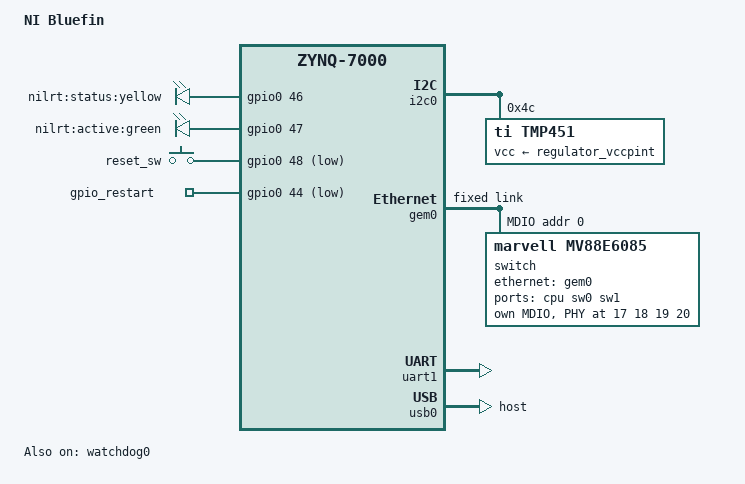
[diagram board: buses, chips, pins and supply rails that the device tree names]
/dts-v1/;
/include/ "ni-zynq.dtsi"

/* NIDEVCODE 78C7 */
/* NIDEVCODE 78B9 */

/ {
	model = "NI Bluefin";
	compatible = "ni,zynq", "xlnx,zynq-7000";

	leds {
		compatible = "gpio-leds";

		/* LED_STATUSy on GPIO46 */
		status {
			label = "nilrt:status:yellow";
			gpios = <&gpio0 46 0>;
			default-state = "on";
		};

		/* LED_ACTIVEg on GPIO47 */
		active {
			label = "nilrt:active:green";
			gpios = <&gpio0 47 0>;
			default-state = "off";
		};
	};

	gpio_keys {
		compatible = "gpio-keys";
		#address-cells = <1>;
		#size-cells = <0>;

		/* Reset switch is on GPIO48 */
		reset_sw@0 {
			label = "reset_sw";
			gpios = <&gpio0 48 1 /* GPIO_ACTIVE_LOW */>;
			linux,code = <408>; /* KEY_RESTART */
			gpio-key,wakeup;
		};
	};

	gpio_restart {
		compatible = "gpio-restart";

		/* ~PS_FORCE_RESET is on GPIO44 */
		gpios = <&gpio0 44 1 /* GPIO_ACTIVE_LOW */>;
		priority = <200>;
	};
};

&i2c0 {
	/* Override ni-zynq.dtsi; we do not have a CPLD at 0x40. */
	nicpld@40 {
		status = "disabled";
	};

	tmp451@4C {
		compatible = "ti,tmp451";
		reg = <0x4C>;
		vcc-supply = <&regulator_vccpint>;
	};
};

&gem0 {
	status = "okay";
	#address-cells = <0x1>;
	#size-cells = <0x0>;

	fixed-link {
		speed = <1000>;
		full-duplex;
		reg = <0>;
	};

	mdio0: mdio {
		status = "okay";
	};
};

&mdio0 {
	#address-cells = <1>;
	#size-cells = <0>;

	switch: switch@0 {
		compatible = "marvell,mv88e6085";
		reg = <0x0>;
		status = "okay";

		ports {
			#address-cells = <1>;
			#size-cells = <0>;

			port@0 {
				reg = <0>;
				label = "cpu";
				phy-mode = "rgmii-id";
				ethernet = <&gem0>;
				fixed-link {
					speed = <1000>;
					full-duplex;
				};
			};

			port@1 {
				reg = <1>;
				label = "sw0";
				phy-handle = <&swphy1>;
			};

			port@2 {
				reg = <2>;
				label = "sw1";
				phy-handle = <&swphy2>;
			};
		};

		mdio {
			swphy1: ethernet-phy@11 {
				reg = <0x11>;
			};

			swphy2: ethernet-phy@12 {
				reg = <0x12>;
			};

			swphy3: ethernet-phy@13 {
				reg = <0x13>;
			};

			swphy4: ethernet-phy@14 {
				reg = <0x14>;
			};
		};
	};
};

&uart1 {
	status = "okay";
};

&usb0 {
	status = "okay";
	dr_mode = "host";
};

&watchdog0 {
	status = "okay";
	reset-on-timeout;
};
